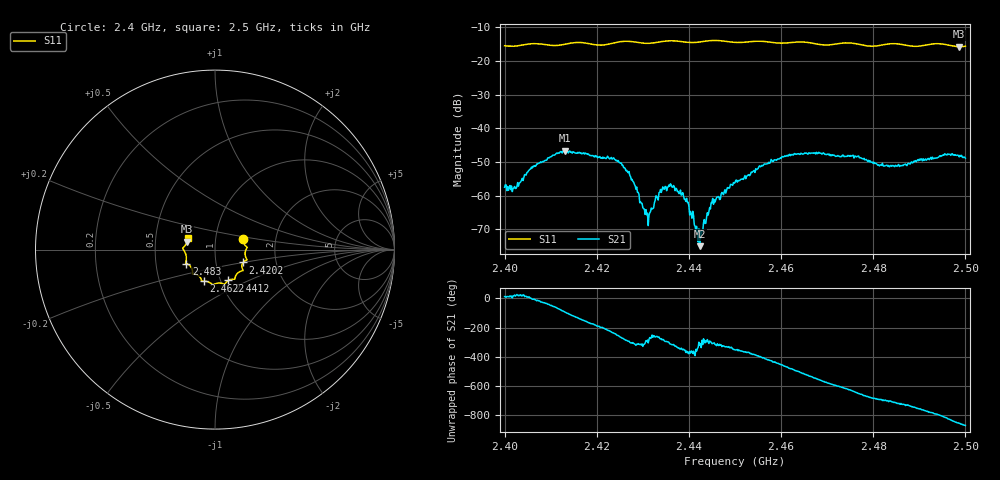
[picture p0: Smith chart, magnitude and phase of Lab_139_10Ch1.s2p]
# Hz S RI R 50
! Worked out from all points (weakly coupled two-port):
!   601 points, 2.4 GHz to 2.5 GHz, reference 50 ohm
!   highest |S21| = -46.65 dB at 2.4132 GHz (marker M1); lowest = -75.0 dB at 2.4423 GHz (marker M2)
!   lowest |S11| = -15.8 dB at 2.4987 GHz (marker M3), VSWR 1.39, Z = 36.4 + j3.28 ohm
!   |S11| at or under -10 dB: start of sweep to end of sweep
!   S12 and S22 are empty: the file has one direction only
!   S11 on the Smith chart (normalised r, x): 2.4 GHz: 1.36, +0.17; 2.4202 GHz: 1.35, -0.20; 2.4412 GHz: 1.09, -0.39; 2.4622 GHz: 0.83, -0.30; 2.483 GHz: 0.72, -0.12; 2.5 GHz: 0.73, +0.09
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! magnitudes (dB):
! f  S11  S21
! 2.4 GHz  -15.5  -57.5
! 2.4022 GHz  -15.6  -57.3
! 2.406 GHz  -14.9  -51.8
! 2.4132 GHz  -15.1  -46.6
! 2.4167 GHz  -14.6  -47.5
! 2.4202 GHz  -15.3  -48.7
! 2.4257 GHz  -14.2  -51.0
! 2.4282 GHz  -14.4  -56.6
! 2.431 GHz  -14.8  -65.2
! 2.4333 GHz  -14.4  -61.3
! 2.4363 GHz  -14.0  -57.4
! 2.4392 GHz  -14.4  -61.1
! 2.4412 GHz  -14.5  -68.7
! 2.4423 GHz  -14.4  -75.0
! 2.445 GHz  -14.0  -62.1
! 2.45 GHz  -14.5  -56.1
! 2.4622 GHz  -14.6  -47.8
! 2.4667 GHz  -14.7  -47.4
! 2.483 GHz  -15.0  -51.0
! 2.4833 GHz  -15.0  -51.0
! 2.4987 GHz  -15.8  -48.5
! 2.5 GHz  -15.6  -48.9
